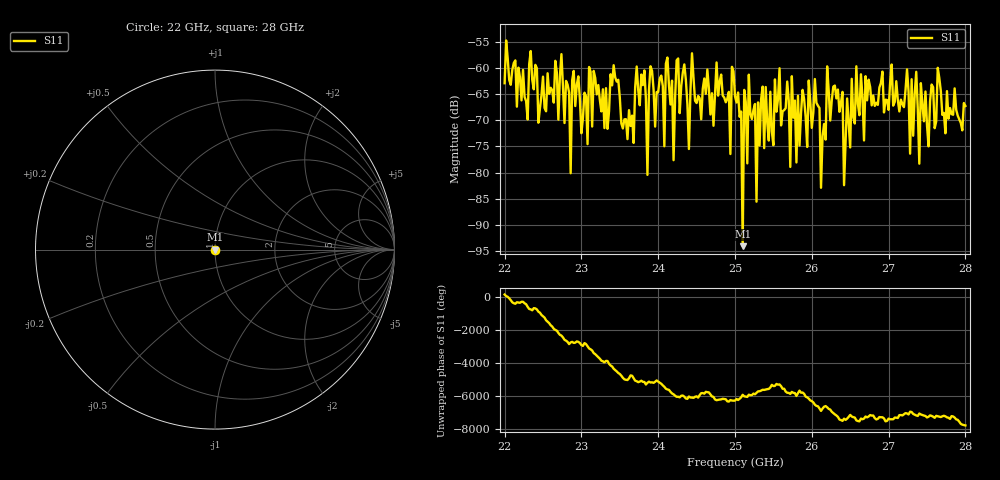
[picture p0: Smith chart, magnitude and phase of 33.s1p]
#  HZ  S  RI  R  50.00
! Rohde & Schwarz ZVA40 4Ports - Version 3.90 - 1145.1110k42 SN: 100403
! Date: 2023-10-04 08:00:51
! Measurement: S12
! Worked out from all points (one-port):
!   301 points, 22 GHz to 28 GHz, reference 50 ohm
!   lowest |S11| = -94.1 dB at 25.1 GHz (marker M1), VSWR 1.00, Z = 50 - j0.0011 ohm
!   |S11| at or under -10 dB: start of sweep to end of sweep
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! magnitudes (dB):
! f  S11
! 22 GHz  -62.9
! 22.76 GHz  -63.6
! 22.86 GHz  -80.1
! 22.9 GHz  -60.6
! 23.5 GHz  -65.7
! 23.82 GHz  -60.5
! 23.86 GHz  -80.4
! 23.9 GHz  -59.7
! 24.08 GHz  -75.0
! 24.12 GHz  -58.0
! 24.2 GHz  -77.6
! 24.26 GHz  -58.2
! 24.4 GHz  -75.5
! 24.44 GHz  -57.2
! 25 GHz  -65.4
! 25.1 GHz  -94.1
! 25.18 GHz  -61.3
! 25.28 GHz  -85.6
! 25.36 GHz  -63.6
! 25.76 GHz  -69.5
! 26.5 GHz  -75.2
! 26.58 GHz  -59.7
! 26.68 GHz  -73.9
! 27.26 GHz  -64.6
! 27.36 GHz  -60.7
! 27.4 GHz  -78.3
! 27.42 GHz  -62.9
! 28 GHz  -67.3
